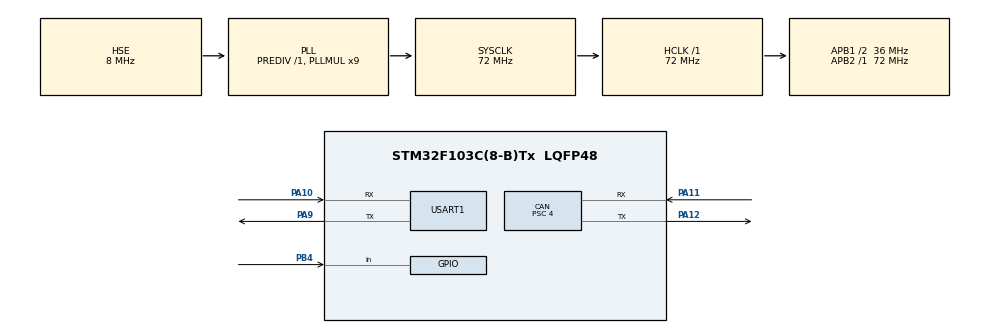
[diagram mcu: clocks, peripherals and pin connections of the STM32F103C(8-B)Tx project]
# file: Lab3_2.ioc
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CAN.BS1=CAN_BS1_12TQ
CAN.BS2=CAN_BS2_5TQ
CAN.CalculateBaudRate=500000
CAN.CalculateTimeBit=2000
CAN.CalculateTimeQuantum=111.11111111111111
CAN.Prescaler=4
CAN.SJW=CAN_SJW_2TQ
Mcu.Family=STM32F1
Mcu.Name=STM32F103C(8-B)Tx
Mcu.Package=LQFP48
NVIC.PriorityGroup=NVIC_PRIORITYGROUP_4
NVIC.USART1_IRQn=true\:0\:0\:false\:false\:true\:true\:true\:true
NVIC.USB_LP_CAN1_RX0_IRQn=true\:0\:0\:false\:false\:true\:true\:true\:true
PA10.Mode=Asynchronous
PA10.Signal=USART1_RX
PA11.Mode=CAN_Activate
PA11.Signal=CAN_RX
PA12.Mode=CAN_Activate
PA12.Signal=CAN_TX
PA13.Mode=Serial_Wire
PA13.Signal=SYS_JTMS-SWDIO
PA14.Mode=Serial_Wire
PA14.Signal=SYS_JTCK-SWCLK
PA9.Mode=Asynchronous
PA9.Signal=USART1_TX
PB4.Signal=GPIO_Input
PD0-OSC_IN.Mode=HSE-External-Oscillator
PD0-OSC_IN.Signal=RCC_OSC_IN
PD1-OSC_OUT.Mode=HSE-External-Oscillator
PD1-OSC_OUT.Signal=RCC_OSC_OUT
ProjectManager.HeapSize=0x200
ProjectManager.StackSize=0x400
ProjectManager.TargetToolchain=STM32CubeIDE
RCC.AHBFreq_Value=72000000
RCC.APB1CLKDivider=RCC_HCLK_DIV2
RCC.APB1Freq_Value=36000000
RCC.APB1TimFreq_Value=72000000
RCC.APB2Freq_Value=72000000
RCC.APB2TimFreq_Value=72000000
RCC.HCLKFreq_Value=72000000
RCC.PLLMUL=RCC_PLL_MUL9
RCC.PLLSourceVirtual=RCC_PLLSOURCE_HSE
RCC.SYSCLKFreq_VALUE=72000000
RCC.SYSCLKSource=RCC_SYSCLKSOURCE_PLLCLK
RCC.USBFreq_Value=72000000
USART1.VirtualMode=VM_ASYNC
board=custom

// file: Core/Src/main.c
/* USER CODE BEGIN Header */
/**
  ******************************************************************************
  * @file           : main.c
  * @brief          : Main program body
  ******************************************************************************
  * @attention
  *
  * Copyright (c) 2023 STMicroelectronics.
  * All rights reserved.
  *
  * This software is licensed under terms that can be found in the LICENSE file
  * in the root directory of this software component.
  * If no LICENSE file comes with this software, it is provided AS-IS.
  *
  ******************************************************************************
  */
/* USER CODE END Header */
#include "main.h"

CAN_HandleTypeDef hcan;

UART_HandleTypeDef huart1;

/* USER CODE BEGIN PV */
CAN_RxHeaderTypeDef rxHeader;
CAN_TxHeaderTypeDef txHeader;
CAN_FilterTypeDef canfil; //CAN Bus Filter
uint32_t canMailbox; //CAN Bus Mail box variable
uint8_t rxBuffer[8];
/* USER CODE END PV */

void SystemClock_Config(void);
static void MX_GPIO_Init(void);
static void MX_CAN_Init(void);
static void MX_USART1_UART_Init(void);

/* USER CODE BEGIN 0 */

/* Private user code ---------------------------------------------------------*/
/* USER CODE BEGIN 0 */
void HAL_CAN_RxFifo0MsgPendingCallback(CAN_HandleTypeDef *hcan)
{
	 HAL_GPIO_TogglePin(GPIOB, GPIO_PIN_10);
	 if (HAL_CAN_GetRxMessage(hcan, CAN_RX_FIFO0, &rxHeader, rxBuffer) == HAL_OK) {
	          // Kiểm tra xem có phải yêu cầu đ�?c dữ liệu không
	          if (rxBuffer[0]== 0x22)
	          {
	        	  uint8_t responseData[] = {0x62, 0x01, 0x23, 0x11, 0x11, 0x11};
	        	  txHeader.StdId = 0x7A2;  // Respond to the tester
	        	  txHeader.IDE = CAN_ID_STD;
	        	  txHeader.DLC = sizeof(responseData);
	        	  HAL_CAN_AddTxMessage(hcan, &txHeader, responseData, &canMailbox);
	          }
	          else
	          {
	        	  uint8_t negativeResponse[] = {0x7F, 0x22, 0x13};  // Invalid length/response format
	        	  CAN_TxHeaderTypeDef txHeader = {0};
	        	  txHeader.StdId = 0x7A2;  // Respond to the tester
	        	  txHeader.IDE = CAN_ID_STD;
	        	  txHeader.DLC = sizeof(negativeResponse);
	        	  HAL_CAN_AddTxMessage(hcan, &txHeader, negativeResponse, &canMailbox);
	          }
	 }
}
/* USER CODE END 0 */

int main(void)
{
  /* USER CODE BEGIN 1 */
	canfil.FilterBank = 10;
	canfil.FilterMode = CAN_FILTERMODE_IDMASK;
	canfil.FilterFIFOAssignment = CAN_FILTER_FIFO0;
	canfil.FilterIdHigh = 0x7A2<<5;
	canfil.FilterIdLow = 0;
	canfil.FilterMaskIdHigh = 0x7A2<<5;
	canfil.FilterMaskIdLow = 0x0000;
	canfil.FilterScale = CAN_FILTERSCALE_32BIT;
	canfil.FilterActivation = CAN_FILTER_ENABLE;
	canfil.SlaveStartFilterBank = 0;
  /* USER CODE END 1 */

  /* MCU Configuration--------------------------------------------------------*/

  /* Reset of all peripherals, Initializes the Flash interface and the Systick. */
  HAL_Init();

  /* Configure the system clock */
  SystemClock_Config();

  /* Initialize all configured peripherals */
  MX_GPIO_Init();
  MX_CAN_Init();
  MX_USART1_UART_Init();

  /* Infinite loop */
  while (1)
  {

  }
}

void SystemClock_Config(void)
{
  RCC_OscInitTypeDef RCC_OscInitStruct = {0};
  RCC_ClkInitTypeDef RCC_ClkInitStruct = {0};

  /** Initializes the RCC Oscillators according to the specified parameters
  * in the RCC_OscInitTypeDef structure.
  */
  RCC_OscInitStruct.OscillatorType = RCC_OSCILLATORTYPE_HSE;
  RCC_OscInitStruct.HSEState = RCC_HSE_ON;
  RCC_OscInitStruct.HSEPredivValue = RCC_HSE_PREDIV_DIV1;
  RCC_OscInitStruct.HSIState = RCC_HSI_ON;
  RCC_OscInitStruct.PLL.PLLState = RCC_PLL_ON;
  RCC_OscInitStruct.PLL.PLLSource = RCC_PLLSOURCE_HSE;
  RCC_OscInitStruct.PLL.PLLMUL = RCC_PLL_MUL9;
  if (HAL_RCC_OscConfig(&RCC_OscInitStruct) != HAL_OK)
  {
    Error_Handler();
  }

  /** Initializes the CPU, AHB and APB buses clocks
  */
  RCC_ClkInitStruct.ClockType = RCC_CLOCKTYPE_HCLK|RCC_CLOCKTYPE_SYSCLK
                              |RCC_CLOCKTYPE_PCLK1|RCC_CLOCKTYPE_PCLK2;
  RCC_ClkInitStruct.SYSCLKSource = RCC_SYSCLKSOURCE_PLLCLK;
  RCC_ClkInitStruct.AHBCLKDivider = RCC_SYSCLK_DIV1;
  RCC_ClkInitStruct.APB1CLKDivider = RCC_HCLK_DIV2;
  RCC_ClkInitStruct.APB2CLKDivider = RCC_HCLK_DIV1;

  if (HAL_RCC_ClockConfig(&RCC_ClkInitStruct, FLASH_LATENCY_2) != HAL_OK)
  {
    Error_Handler();
  }
}

static void MX_CAN_Init(void)
{

  hcan.Instance = CAN1;
  hcan.Init.Prescaler = 4;
  hcan.Init.Mode = CAN_MODE_NORMAL;
  hcan.Init.SyncJumpWidth = CAN_SJW_1TQ;
  hcan.Init.TimeSeg1 = CAN_BS1_12TQ;
  hcan.Init.TimeSeg2 = CAN_BS2_5TQ;
  hcan.Init.TimeTriggeredMode = DISABLE;
  hcan.Init.AutoBusOff = DISABLE;
  hcan.Init.AutoWakeUp = DISABLE;
  hcan.Init.AutoRetransmission = DISABLE;
  hcan.Init.ReceiveFifoLocked = DISABLE;
  hcan.Init.TransmitFifoPriority = DISABLE;
  if (HAL_CAN_Init(&hcan) != HAL_OK)
  {
    Error_Handler();
  }

}

static void MX_USART1_UART_Init(void)
{

  huart1.Instance = USART1;
  huart1.Init.BaudRate = 115200;
  huart1.Init.WordLength = UART_WORDLENGTH_8B;
  huart1.Init.StopBits = UART_STOPBITS_1;
  huart1.Init.Parity = UART_PARITY_NONE;
  huart1.Init.Mode = UART_MODE_TX_RX;
  huart1.Init.HwFlowCtl = UART_HWCONTROL_NONE;
  huart1.Init.OverSampling = UART_OVERSAMPLING_16;
  if (HAL_UART_Init(&huart1) != HAL_OK)
  {
    Error_Handler();
  }

}

static void MX_GPIO_Init(void)
{
  GPIO_InitTypeDef GPIO_InitStruct = {0};

  /* GPIO Ports Clock Enable */
  __HAL_RCC_GPIOD_CLK_ENABLE();
  __HAL_RCC_GPIOA_CLK_ENABLE();
  __HAL_RCC_GPIOB_CLK_ENABLE();

  /*Configure GPIO pin : PB4 */
  GPIO_InitStruct.Pin = GPIO_PIN_4;
  GPIO_InitStruct.Mode = GPIO_MODE_INPUT;
  GPIO_InitStruct.Pull = GPIO_NOPULL;
  HAL_GPIO_Init(GPIOB, &GPIO_InitStruct);

}

void Error_Handler(void)
{
  __disable_irq();
  while (1)
  {
  }
}
